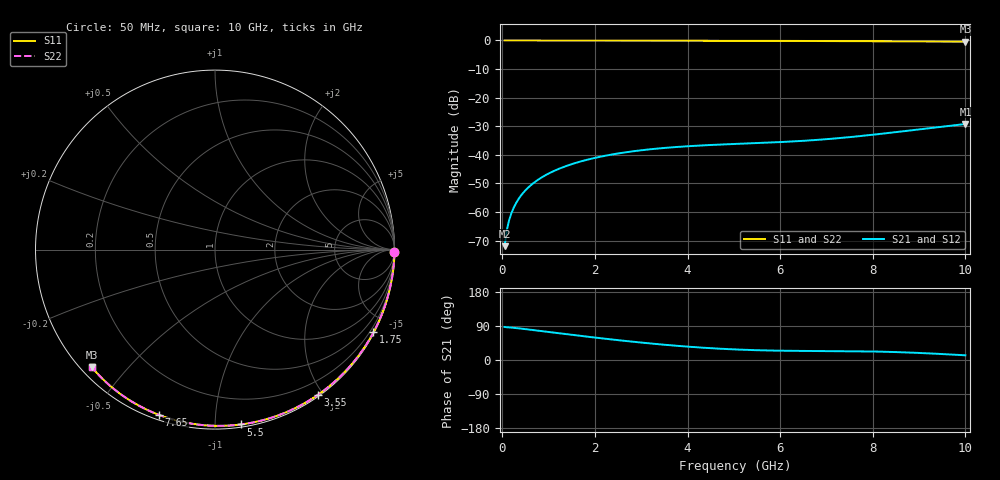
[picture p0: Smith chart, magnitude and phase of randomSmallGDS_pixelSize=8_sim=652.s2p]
! freq	dB(S11)	phase(S11)	dB(S12)	phase(S12)
!  dB(S21)	phase(S21)	dB(S22)	phase(S22)
!S-par simulation data
#  GHz  S  DB  R 50
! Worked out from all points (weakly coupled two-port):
!   200 points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, 50 MHz to 10 GHz, reference 50 ohm
!   highest |S21| = -29.22 dB at 10 GHz (marker M1); lowest = -72.0 dB at 50 MHz (marker M2)
!   lowest |S11| = -0.5 dB at 10 GHz (marker M3), VSWR 38.46, Z = 1.51 - j20 ohm
!   |S11| at or under -10 dB: nowhere
!   |S22| runs from -0.5 to 0.0 dB; largest |S21 - S12| = 0
!   S11 on the Smith chart (normalised r, x): 50 MHz: open; 1.75 GHz: 0.04, -4.07; 3.55 GHz: 0.02, -1.94; 5.5 GHz: 0.02, -1.16; 7.65 GHz: 0.02, -0.72; 10 GHz: 0.03, -0.40
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0.05  -0.00 -0.8  -71.95 87.2  -71.95 87.2  -0.00 -0.8
0.1  -0.00 -1.6  -66.15 86.4  -66.15 86.4  -0.00 -1.6
0.15  -0.00 -2.4  -62.73 86.0  -62.73 86.0  -0.00 -2.4
0.2  -0.00 -3.2  -60.28 85.5  -60.28 85.5  -0.00 -3.2
0.25  -0.00 -4.0  -58.37 84.9  -58.37 84.9  -0.00 -4.0
0.35  -0.00 -5.6  -55.49 83.6  -55.49 83.6  -0.00 -5.6
0.5  -0.01 -8.0  -52.42 81.5  -52.42 81.5  -0.01 -8.0
0.7  -0.01 -11.2  -49.55 78.5  -49.55 78.5  -0.01 -11.2
1  -0.02 -15.9  -46.55 74.0  -46.55 74.0  -0.02 -15.9
1.35  -0.03 -21.4  -44.09 68.7  -44.09 68.7  -0.03 -21.4
1.75  -0.04 -27.6  -42.07 62.8  -42.07 62.8  -0.04 -27.6
2.5  -0.05 -39.0  -39.53 52.3  -39.53 52.3  -0.05 -39.0
3.4  -0.07 -52.4  -37.74 41.3  -37.74 41.3  -0.07 -52.4
3.55  -0.07 -54.5  -37.53 39.7  -37.53 39.7  -0.07 -54.5
4.3  -0.09 -65.2  -36.72 32.7  -36.72 32.7  -0.09 -65.2
5.05  -0.12 -75.5  -36.18 27.8  -36.18 27.8  -0.12 -75.5
5.5  -0.13 -81.5  -35.90 25.8  -35.90 25.8  -0.13 -81.5
6.7  -0.19 -97.0  -34.89 23.8  -34.89 23.8  -0.19 -97.0
7.65  -0.24 -108.7  -33.58 23.1  -33.58 23.1  -0.24 -108.7
8.35  -0.29 -117.1  -32.34 21.5  -32.34 21.5  -0.29 -117.0
9.2  -0.37 -127.0  -30.73 17.5  -30.73 17.5  -0.37 -127.0
10  -0.45 -136.3  -29.22 12.4  -29.22 12.4  -0.45 -136.2
